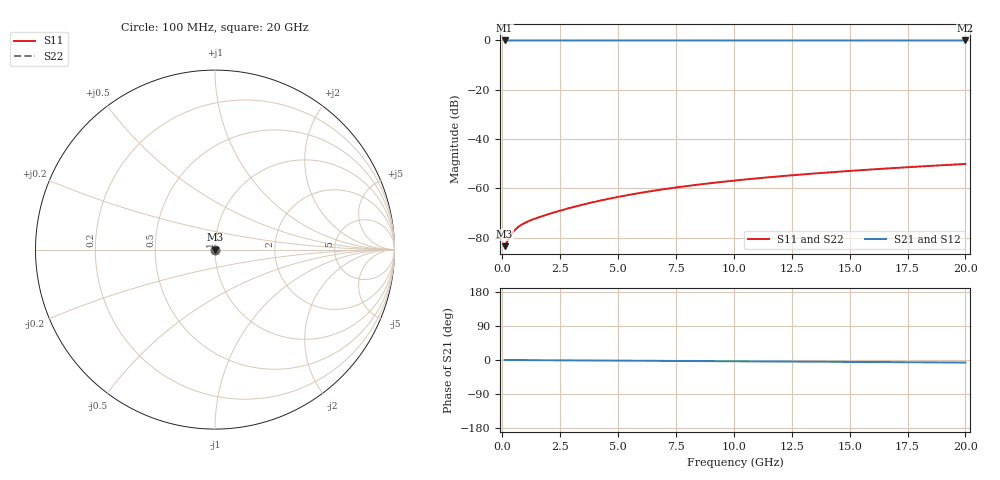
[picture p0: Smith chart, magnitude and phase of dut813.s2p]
! Touchstone file exported from HFSS 2026.1.0
!  File:  C:/ffzhzh/LocalFiles/Ansys_Project_Files/temp_train_TSV_813_1783184346_55132.aedt
!  Generated:  01:00:28 AM Jul  5, 2026
!  Design:  TSV
!  Project:  temp_train_TSV_813_1783184346_55132
! Variables:
!  h_bsmrdl = 2um
!  h_ox = 20um
!  h_rdl = 5um
!  h_sub = 63.27um
!  h_tmrdl = 5um
!  h_tsv = 63.27um
!  h_via = 3um
!  l_bsmrdl = 300um
!  l_sub = 428.6um
!  l_tmrdl = 200um
!  m_sub = 200um
!  pitch = 55.05um
!  r_tsv = 14.3um
!  s_tmrdl = 10um
!  w_bsmrdl = 18um
!  w_sub = 500um
!  w_tmrdl = 12um
!  x_tsv_center1 = 206um
!  x_tsv_center2 = 524um
!  x_tsv_center3 = 736um
!  x_tsv_center4 = 1054um
!  x_tsv_center5 = 1266um
!  x_tsv_center6 = 1584um
# GHz S MA R 50.000000
! Terminal data exported
! Port[1] = TSV1_1_T1
! Port[2] = TSV1_1_T2
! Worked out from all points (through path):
!   200 points, 100 MHz to 20 GHz, reference 50 ohm
!   highest |S21| = 0.00 dB at 100 MHz (marker M1); lowest = 0.0 dB at 20 GHz (marker M2)
!   lowest |S11| = -83.5 dB at 100 MHz (marker M3), VSWR 1.00, Z = 50 + j0.0018 ohm
!   |S11| at or under -10 dB: start of sweep to end of sweep
!   |S22| runs from -83.5 to -50.1 dB; largest |S21 - S12| = 1.1e-15
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0.1  6.694e-05 15.6  0.9999 -0.0  0.9999 -0.0  6.694e-05 15.6
! Gamma 0 0 0 0
! Port Impedance 50 0 50 0
0.3  0.0001004 25.7  0.9999 -0.1  0.9999 -0.1  0.0001004 25.7
0.4  0.0001189 24.2  0.9999 -0.1  0.9999 -0.1  0.0001189 24.2
0.5  0.0001361 21.0  0.9999 -0.2  0.9999 -0.2  0.0001361 21.0
0.6  0.0001517 17.0  0.9999 -0.2  0.9999 -0.2  0.0001517 17.0
0.7  0.0001658 12.9  0.9998 -0.2  0.9998 -0.2  0.0001658 12.9
0.9  0.0001904 4.9  0.9998 -0.3  0.9998 -0.3  0.0001904 4.9
1.2  0.0002219 -5.6  0.9998 -0.4  0.9998 -0.4  0.0002219 -5.6
1.6  0.0002607 -16.7  0.9997 -0.5  0.9997 -0.5  0.0002607 -16.7
2.2  0.0003207 -28.6  0.9997 -0.7  0.9997 -0.7  0.0003207 -28.6
2.8  0.0003861 -37.0  0.9997 -1.0  0.9997 -1.0  0.0003861 -37.0
3.5  0.0004694 -44.0  0.9997 -1.2  0.9997 -1.2  0.0004694 -44.0
4.3  0.0005726 -49.8  0.9996 -1.5  0.9996 -1.5  0.0005726 -49.8
5.1  0.0006826 -54.2  0.9996 -1.7  0.9996 -1.7  0.0006826 -54.2
5.9  0.0007977 -57.7  0.9996 -2.0  0.9996 -2.0  0.0007977 -57.7
6.8  0.0009317 -61.0  0.9995 -2.3  0.9995 -2.3  0.0009317 -61.0
8.4  0.001178 -65.6  0.9995 -2.8  0.9995 -2.8  0.001178 -65.6
10.1  0.001447 -69.4  0.9994 -3.4  0.9994 -3.4  0.001447 -69.4
11.7  0.001706 -72.2  0.9994 -3.9  0.9994 -3.9  0.001706 -72.2
13.4  0.001985 -74.7  0.9993 -4.5  0.9993 -4.5  0.001985 -74.7
16.7  0.002541 -78.4  0.9992 -5.6  0.9992 -5.6  0.002541 -78.4
20  0.003121 -81.2  0.9992 -6.7  0.9992 -6.7  0.003121 -81.2
